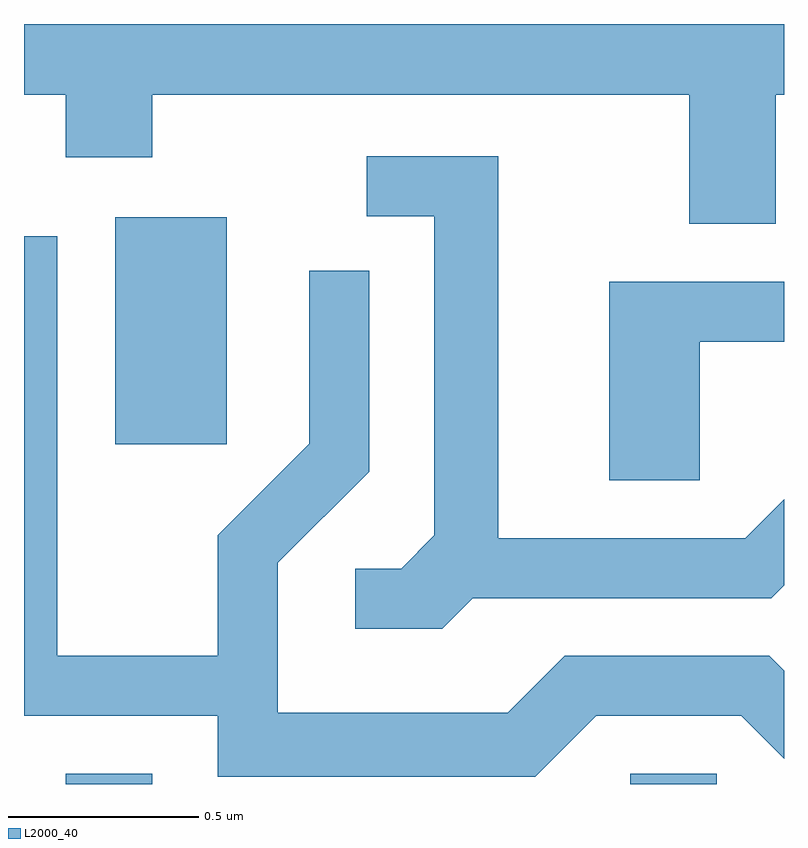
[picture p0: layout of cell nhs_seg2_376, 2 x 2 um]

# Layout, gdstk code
import gdstk
lib = gdstk.Library(unit=1e-6, precision=1e-09)
def R(c, l, rs):  # rectangles x0, y0, x1, y1
    for r in rs: c.add(gdstk.rectangle(r[:2], r[2:], *l))
def P(c, l, *ps):  # polygons
    for p in ps: c.add(gdstk.Polygon(p, *l))
L2000_40 = (2000, 40)

nhs_seg2_376 = lib.new_cell('nhs_seg2_376')
R(nhs_seg2_376, L2000_40, [(187.721,1079.802,187.949,1079.829), (189.206,1079.802,189.434,1079.829), (187.851,1080.696,188.144,1081.294)])
P(nhs_seg2_376, L2000_40, [(189.589,1081.616),(189.611,1081.616),(189.611,1081.802),(187.611,1081.802),(187.611,1081.616),(187.721,1081.616),(187.721,1081.451),(187.949,1081.451),(187.949,1081.616),(189.361,1081.616),(189.361,1081.276),(189.589,1081.276)],
  [(188.792,1080.291),(189.577,1080.291),(189.611,1080.325),(189.611,1080.552),(189.509,1080.449),(188.859,1080.449),(188.859,1081.454),(188.513,1081.454),(188.513,1081.296),(188.691,1081.296),(188.691,1080.457),(188.604,1080.369),(188.483,1080.369),(188.483,1080.211),(188.712,1080.211)],
  [(189.117,1079.981),(189.499,1079.981),(189.611,1079.869),(189.611,1080.1),(189.572,1080.139),(189.034,1080.139),(188.884,1079.989),(188.279,1079.989),(188.279,1080.384),(188.519,1080.624),(188.519,1081.153),(188.361,1081.153),(188.361,1080.697),(188.121,1080.457),(188.121,1080.139),(187.699,1080.139),(187.699,1081.244),(187.611,1081.244),(187.611,1079.981),(188.121,1079.981),(188.121,1079.821),(188.957,1079.821)],
  [(189.389,1080.966),(189.611,1080.966),(189.611,1081.124),(189.151,1081.124),(189.151,1080.601),(189.389,1080.601)])

lib.write_gds('nhs_seg2_376.gds')
